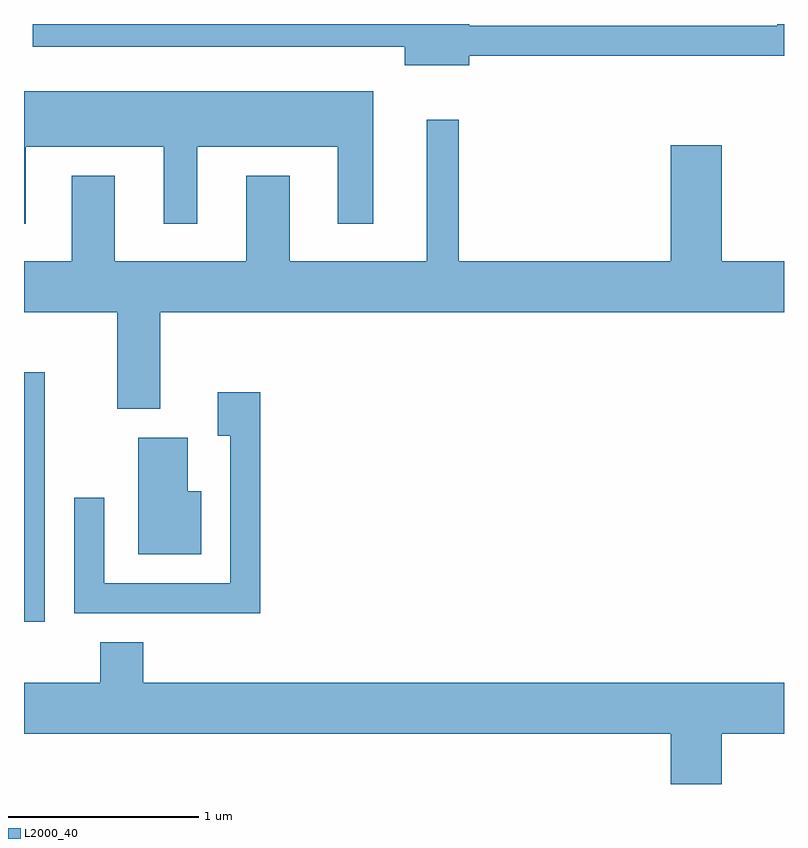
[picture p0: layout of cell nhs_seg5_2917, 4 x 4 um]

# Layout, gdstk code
import gdstk
lib = gdstk.Library(unit=1e-6, precision=1e-09)
def R(c, l, rs):  # rectangles x0, y0, x1, y1
    for r in rs: c.add(gdstk.rectangle(r[:2], r[2:], *l))
def P(c, l, *ps):  # polygons
    for p in ps: c.add(gdstk.Polygon(p, *l))
L2000_40 = (2000, 40)

nhs_seg5_2917 = lib.new_cell('nhs_seg5_2917')
R(nhs_seg5_2917, L2000_40, [(271.611,1472.926,271.719,1474.239)])
P(nhs_seg5_2917, L2000_40, [(273.954,1475.906),(275.611,1475.906),(275.611,1476.072),(275.576,1476.072),(275.576,1476.064),(273.954,1476.064),(273.954,1476.072),(271.658,1476.072),(271.658,1475.951),(273.616,1475.951),(273.616,1475.856),(273.954,1475.856)],
  [(271.619,1475.426),(272.346,1475.426),(272.346,1475.021),(272.524,1475.021),(272.524,1475.426),(273.261,1475.426),(273.261,1475.021),(273.449,1475.021),(273.449,1475.719),(271.611,1475.719),(271.611,1475.021),(271.619,1475.021)],
  [(272.329,1474.556),(275.611,1474.556),(275.611,1474.824),(275.284,1474.824),(275.284,1475.434),(275.016,1475.434),(275.016,1474.824),(273.899,1474.824),(273.899,1475.568),(273.731,1475.568),(273.731,1474.824),(273.009,1474.824),(273.009,1475.274),(272.781,1475.274),(272.781,1474.824),(272.089,1474.824),(272.089,1475.274),(271.861,1475.274),(271.861,1474.824),(271.611,1474.824),(271.611,1474.556),(272.101,1474.556),(272.101,1474.046),(272.329,1474.046)],
  [(272.854,1474.134),(272.631,1474.134),(272.631,1473.906),(272.696,1473.906),(272.696,1473.129),(272.034,1473.129),(272.034,1473.578),(271.876,1473.578),(271.876,1472.971),(272.854,1472.971)],
  [(272.544,1473.614),(272.474,1473.614),(272.474,1473.894),(272.211,1473.894),(272.211,1473.281),(272.544,1473.281)],
  [(275.284,1472.336),(275.611,1472.336),(275.611,1472.604),(272.239,1472.604),(272.239,1472.819),(272.011,1472.819),(272.011,1472.604),(271.611,1472.604),(271.611,1472.336),(275.016,1472.336),(275.016,1472.072),(275.284,1472.072)])

lib.write_gds('nhs_seg5_2917.gds')
